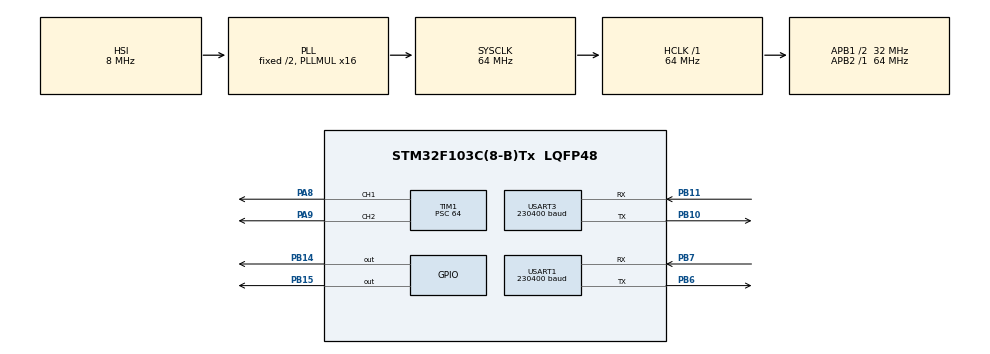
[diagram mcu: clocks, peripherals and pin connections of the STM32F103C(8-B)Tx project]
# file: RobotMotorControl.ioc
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Mcu.Family=STM32F1
Mcu.Name=STM32F103C(8-B)Tx
Mcu.Package=LQFP48
NVIC.PriorityGroup=NVIC_PRIORITYGROUP_4
NVIC.TIM2_IRQn=true\:0\:0\:false\:false\:true\:true\:true
NVIC.USART1_IRQn=true\:0\:0\:false\:false\:true\:true\:true
NVIC.USART3_IRQn=true\:0\:0\:false\:false\:true\:true\:true
PA13.Mode=Serial_Wire
PA13.Signal=SYS_JTMS-SWDIO
PA14.Mode=Serial_Wire
PA14.Signal=SYS_JTCK-SWCLK
PA8.Signal=S_TIM1_CH1
PA9.Signal=S_TIM1_CH2
PB10.Mode=Asynchronous
PB10.Signal=USART3_TX
PB11.Mode=Asynchronous
PB11.Signal=USART3_RX
PB14.Signal=GPIO_Output
PB15.Signal=GPIO_Output
PB6.Mode=Asynchronous
PB6.Signal=USART1_TX
PB7.Mode=Asynchronous
PB7.Signal=USART1_RX
PD0-OSC_IN.Mode=HSE-External-Oscillator
PD0-OSC_IN.Signal=RCC_OSC_IN
PD1-OSC_OUT.Mode=HSE-External-Oscillator
PD1-OSC_OUT.Signal=RCC_OSC_OUT
ProjectManager.HeapSize=0x200
ProjectManager.StackSize=0x400
ProjectManager.TargetToolchain=STM32CubeIDE
RCC.AHBFreq_Value=64000000
RCC.APB1CLKDivider=RCC_HCLK_DIV2
RCC.APB1Freq_Value=32000000
RCC.APB1TimFreq_Value=64000000
RCC.APB2Freq_Value=64000000
RCC.APB2TimFreq_Value=64000000
RCC.HCLKFreq_Value=64000000
RCC.PLLMUL=RCC_PLL_MUL16
RCC.SYSCLKFreq_VALUE=64000000
RCC.SYSCLKSource=RCC_SYSCLKSOURCE_PLLCLK
RCC.USBFreq_Value=64000000
SH.S_TIM1_CH1.0=TIM1_CH1,PWM Generation1 CH1
SH.S_TIM1_CH2.0=TIM1_CH2,PWM Generation2 CH2
TIM1.Channel-PWM\ Generation1\ CH1=TIM_CHANNEL_1
TIM1.Channel-PWM\ Generation2\ CH2=TIM_CHANNEL_2
TIM1.Period=500
TIM1.Prescaler=64
TIM2.Period=1000
TIM2.Prescaler=6400
USART1.BaudRate=230400
USART1.VirtualMode=VM_ASYNC
USART3.BaudRate=230400
USART3.VirtualMode=VM_ASYNC
VP_TIM2_VS_ClockSourceINT.Mode=Internal
board=custom

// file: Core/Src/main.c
/* USER CODE BEGIN Header */
/**
  ******************************************************************************
  * @file           : main.c
  * @brief          : Main program body
  ******************************************************************************
  * @attention
  *
  * <h2><center>&copy; Copyright (c) 2021 STMicroelectronics.
  * All rights reserved.</center></h2>
  *
  * This software component is licensed by ST under BSD 3-Clause license,
  * the "License"; You may not use this file except in compliance with the
  * License. You may obtain a copy of the License at:
  *                        opensource.org/licenses/BSD-3-Clause
  *
  ******************************************************************************
  */
/* USER CODE END Header */
#include "main.h"
#include "tim.h"
#include "usart.h"
#include "gpio.h"

/* USER CODE BEGIN Includes */
#include "stdio.h"

#include "PwmDriver.h"
#include "GpioDriver.h"
#include "MotorDriver.h"
#include "MotorController.h"

#include "Deque.h"

#include "ComProtocol.h"

/* USER CODE END Includes */

/* USER CODE BEGIN PV */
PwmDriver pwmDriver;
GpioDriver enGpioDriver;
GpioDriver dirGpioDriver;

MotorDriver motorDriver;
MotorController motorController;
/* USER CODE END PV */

void SystemClock_Config(void);

/* USER CODE BEGIN 0 */
uint8_t rx_buffer[1];
uint8_t tx_buffer[MAX_PACKET_LENGTH];
Deque rxDequeue;

bool control_flag = 0;

void init_all_driver() {
  PwmDriver_init(&pwmDriver, 64, &htim1, TIM_CHANNEL_1, 64, 65535);
  GpioDriver_init(&enGpioDriver, GPIOB, GPIO_PIN_14);
  GpioDriver_init(&dirGpioDriver, GPIOB, GPIO_PIN_15);

  MotorDriver_init(&motorDriver, &pwmDriver, &enGpioDriver, &dirGpioDriver);
  //100Hz
  MotorController_init(&motorController, &motorDriver, 100, 0.1);

}

int try_parse_protocol_from_queue(RxProtocolPacket *data_packet) {
  uint8_t cur_packet[MAX_PACKET_LENGTH];//将包写入buffer

  //先找个包头
  uint8_t temp_lst_head = 0;
  bool find_head_flag = false;
  for (size_t i = 0; i < MAX_PACKET_LENGTH; i++) {
    uint8_t cur = Dequeue_pop_front(&rxDequeue);
    if (temp_lst_head == HD_NUM && cur == ID_NUM) {
      find_head_flag = true;
      break;
    }
    temp_lst_head = cur;
  }
  //没找到包头
  if (find_head_flag == false) return -1;

  cur_packet[0] = HD_NUM;
  cur_packet[1] = ID_NUM;

  // 长度
  size_t cur_packet_length = cur_packet[2] = Dequeue_pop_front(&rxDequeue);

  //长度错误
  printf("len: %d\n", cur_packet_length);
  if (cur_packet_length > MAX_PACKET_LENGTH) return -2;

  // 剩余的deque长度不够现在的包长，把取出来的再塞回去，之后够了再说
  if (cur_packet_length - 3 > rxDequeue.length) {
    Dequeue_push_front(&rxDequeue, cur_packet[2]);
    Dequeue_push_front(&rxDequeue, cur_packet[1]);
    Dequeue_push_front(&rxDequeue, cur_packet[0]);
    return -3;
  }

  //完整读入整个包
  for (size_t i = 3; i < cur_packet_length; i++) {
    cur_packet[i] = Dequeue_pop_front(&rxDequeue);
  }

  data_packet->length = cur_packet_length;
  int8_t parse_res = parse_packet(cur_packet, cur_packet_length, data_packet);

  //解析错误
  if (parse_res != 0) {
    // 把除了包头的内容推回去，认为当前包头错误
    for (size_t i = cur_packet_length - 1; i >= 2; i--) {
      Dequeue_push_front(&rxDequeue, cur_packet[i]);
    }
    return parse_res - 3;
  }

  return 0;
}
/* USER CODE END 0 */

int main(void) {

  /* MCU Configuration--------------------------------------------------------*/

  /* Reset of all peripherals, Initializes the Flash interface and the Systick. */
  HAL_Init();

  /* Configure the system clock */
  SystemClock_Config();

  /* Initialize all configured peripherals */
  MX_GPIO_Init();
  MX_USART3_UART_Init();
  MX_TIM1_Init();
  MX_USART1_UART_Init();
  MX_TIM2_Init();
  /* USER CODE BEGIN 2 */

  //开启usart1中断
  HAL_UART_Receive_IT(&huart1, rx_buffer, 1);

  //开启定时器2中断
  HAL_TIM_Base_Start_IT(&htim2);

  init_all_driver();

  /* USER CODE END 2 */

  /* Infinite loop */
  while (1) {

    /* USER CODE BEGIN 3 */

    // 当buffer内长度足够，只取MAX_PACKET_LENGTH以内长度，试图解包
    if (rxDequeue.length > MAX_PACKET_LENGTH) {
      RxProtocolPacket protocol_packet;
      int parse_res = try_parse_protocol_from_queue(&protocol_packet);
      if (parse_res != 0) {
        printf("%d\n", parse_res);
      } else {
        MotorState motor_state;
        motor_state.mode = protocol_packet.inner_msg.axle_cmd[1].mode;
        motor_state.velocity = (double) protocol_packet.inner_msg.axle_cmd[1].velocity / 60;// 从转每分钟转为转每秒
        motor_state.position = protocol_packet.inner_msg.axle_cmd[1].position;
        motor_state.current = protocol_packet.inner_msg.axle_cmd[1].current;

        MotorController_set_target(&motorController, motor_state);
      }

    }

    // 按周期控制 100Hz
    if (control_flag) {
      control_flag = false;
      MotorController_control(&motorController);
      printf("control\n");

//      ProtocolPacket data_packet;
//
//      for (size_t i = 1; i < 2; i++) {
//        data_packet.inner_msg.axle_cmd[i].mode = (int16_t) (motorController.cur_motor_state.mode);
//        data_packet.inner_msg.axle_cmd[i].current = (int16_t) (motorController.cur_motor_state.current * 100);
//        data_packet.inner_msg.axle_cmd[i].position = (int16_t) (motorController.cur_motor_state.position * 100);
//        data_packet.inner_msg.axle_cmd[i].velocity = (int16_t) (motorController.cur_motor_state.velocity * 100);
//
//      }
//
//      dump_packet(tx_buffer, MAX_PACKET_LENGTH, &data_packet);
//      HAL_UART_Transmit_IT(&huart3, tx_buffer, data_packet.length);
    }
  }

  /* USER CODE END 3 */
}

void SystemClock_Config(void) {
  RCC_OscInitTypeDef RCC_OscInitStruct = {0};
  RCC_ClkInitTypeDef RCC_ClkInitStruct = {0};

  /** Initializes the RCC Oscillators according to the specified parameters
  * in the RCC_OscInitTypeDef structure.
  */
  RCC_OscInitStruct.OscillatorType = RCC_OSCILLATORTYPE_HSI;
  RCC_OscInitStruct.HSIState = RCC_HSI_ON;
  RCC_OscInitStruct.HSICalibrationValue = RCC_HSICALIBRATION_DEFAULT;
  RCC_OscInitStruct.PLL.PLLState = RCC_PLL_ON;
  RCC_OscInitStruct.PLL.PLLSource = RCC_PLLSOURCE_HSI_DIV2;
  RCC_OscInitStruct.PLL.PLLMUL = RCC_PLL_MUL16;
  if (HAL_RCC_OscConfig(&RCC_OscInitStruct) != HAL_OK) {
    Error_Handler();
  }
  /** Initializes the CPU, AHB and APB buses clocks
  */
  RCC_ClkInitStruct.ClockType = RCC_CLOCKTYPE_HCLK | RCC_CLOCKTYPE_SYSCLK
      | RCC_CLOCKTYPE_PCLK1 | RCC_CLOCKTYPE_PCLK2;
  RCC_ClkInitStruct.SYSCLKSource = RCC_SYSCLKSOURCE_PLLCLK;
  RCC_ClkInitStruct.AHBCLKDivider = RCC_SYSCLK_DIV1;
  RCC_ClkInitStruct.APB1CLKDivider = RCC_HCLK_DIV2;
  RCC_ClkInitStruct.APB2CLKDivider = RCC_HCLK_DIV1;

  if (HAL_RCC_ClockConfig(&RCC_ClkInitStruct, FLASH_LATENCY_2) != HAL_OK) {
    Error_Handler();
  }
}

/* USER CODE BEGIN 4 */
uint8_t lst = 0;
void HAL_UART_RxCpltCallback(UART_HandleTypeDef *huart) {
  if (huart->Instance == USART1) {
    Dequeue_push_back(&rxDequeue, rx_buffer[0]);
    HAL_UART_Receive_IT(&huart1, rx_buffer, 1);
  }
//  if (huart->Instance == USART3) {
//    Dequeue_push_back(&dequeue, rx_buffer[0]);
//    HAL_UART_Receive_IT(&huart3, rx_buffer, 1);
//  }
}

void HAL_TIM_PeriodElapsedCallback(TIM_HandleTypeDef *htim) {
  if (htim == (&htim2)) {
    control_flag = true;
  }
}
/* USER CODE END 4 */

void Error_Handler(void) {
  __disable_irq();
  while (1) {
  }
}

/************************ (C) COPYRIGHT STMicroelectronics *****END OF FILE****/
